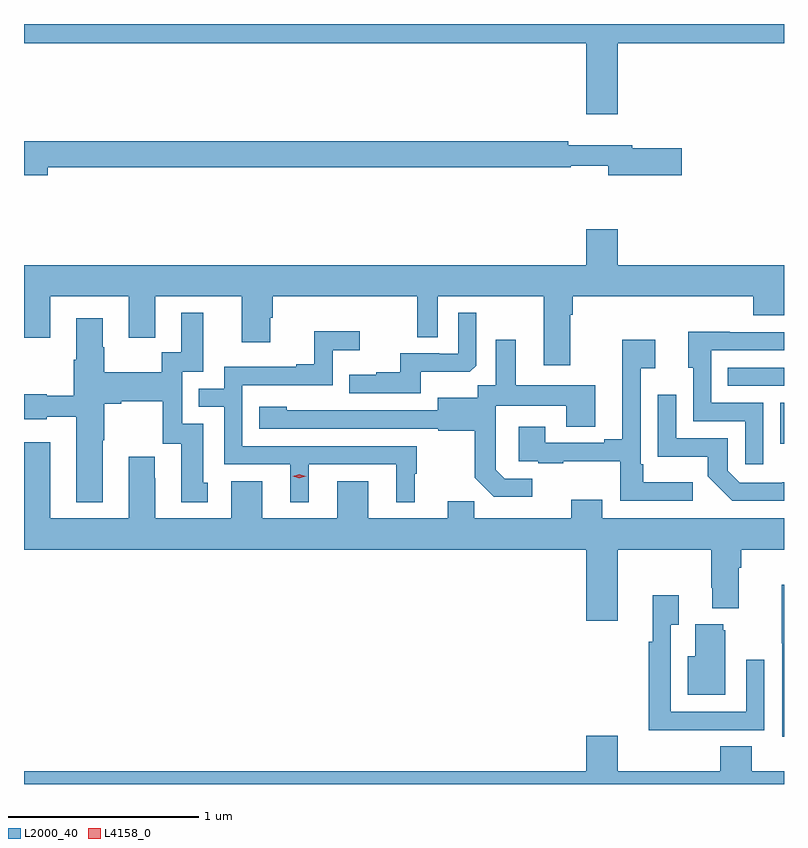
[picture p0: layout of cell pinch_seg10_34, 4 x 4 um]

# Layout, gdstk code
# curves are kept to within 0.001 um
import gdstk
lib = gdstk.Library(unit=1e-6, precision=1e-09)
def R(c, l, rs):  # rectangles x0, y0, x1, y1
    for r in rs: c.add(gdstk.rectangle(r[:2], r[2:], *l))
def P(c, l, *ps):  # polygons
    for p in ps: c.add(gdstk.Polygon(p, *l))
L2000_40 = (2000, 40)
L4158_0 = (4158, 0)

pinch_seg10_34 = lib.new_cell('pinch_seg10_34')
R(pinch_seg10_34, L2000_40, [(921.272,1300.874,921.292,1301.089), (920.995,1301.178,921.292,1301.274)])
P(pinch_seg10_34, L2000_40, [(920.416,1302.98),(921.292,1302.98),(921.292,1303.082),(917.292,1303.082),(917.292,1302.98),(920.252,1302.98),(920.252,1302.606),(920.416,1302.606)],
  [(917.416,1302.328),(920.17,1302.328),(920.17,1302.336),(920.366,1302.336),(920.366,1302.286),(920.755,1302.286),(920.755,1302.428),(920.494,1302.428),(920.494,1302.445),(920.156,1302.445),(920.156,1302.464),(917.292,1302.464),(917.292,1302.286),(917.416,1302.286)],
  [(920.167,1301.552),(920.18,1301.552),(920.18,1301.648),(921.131,1301.648),(921.131,1301.549),(921.292,1301.549),(921.292,1301.812),(920.416,1301.812),(920.416,1302.001),(920.252,1302.001),(920.252,1301.812),(917.292,1301.812),(917.292,1301.43),(917.431,1301.43),(917.431,1301.648),(917.843,1301.648),(917.843,1301.43),(917.983,1301.43),(917.983,1301.648),(918.437,1301.648),(918.437,1301.406),(918.589,1301.406),(918.589,1301.535),(918.602,1301.535),(918.602,1301.648),(919.362,1301.648),(919.362,1301.434),(919.47,1301.434),(919.47,1301.648),(920.027,1301.648),(920.027,1301.286),(920.167,1301.286)],
  [(917.707,1300.891),(917.715,1300.891),(917.715,1301.084),(917.803,1301.084),(917.803,1301.096),(918.023,1301.096),(918.023,1300.872),(918.119,1300.872),(918.119,1300.566),(918.259,1300.566),(918.259,1300.668),(918.235,1300.668),(918.235,1300.977),(918.126,1300.977),(918.126,1301.253),(918.235,1301.253),(918.235,1301.563),(918.119,1301.563),(918.119,1301.354),(918.018,1301.354),(918.018,1301.248),(917.715,1301.248),(917.715,1301.382),(917.707,1301.382),(917.707,1301.533),(917.567,1301.533),(917.567,1301.315),(917.555,1301.315),(917.555,1301.125),(917.412,1301.125),(917.412,1301.133),(917.292,1301.133),(917.292,1301.003),(917.412,1301.003),(917.412,1301.015),(917.567,1301.015),(917.567,1300.565),(917.707,1300.565)],
  [(919.381,1301.252),(919.639,1301.252),(919.671,1301.283),(919.671,1301.563),(919.578,1301.563),(919.578,1301.346),(919.478,1301.346),(919.478,1301.349),(919.271,1301.349),(919.271,1301.248),(919.147,1301.248),(919.147,1301.236),(919.003,1301.236),(919.003,1301.139),(919.381,1301.139)],
  [(918.79,1300.764),(919.25,1300.764),(919.25,1300.565),(919.348,1300.565),(919.348,1300.716),(919.36,1300.716),(919.36,1300.86),(918.441,1300.86),(918.441,1301.181),(918.918,1301.181),(918.918,1301.366),(919.06,1301.366),(919.06,1301.465),(918.82,1301.465),(918.82,1301.29),(918.725,1301.29),(918.725,1301.277),(918.345,1301.277),(918.345,1301.163),(918.211,1301.163),(918.211,1301.067),(918.345,1301.067),(918.345,1300.764),(918.692,1300.764),(918.692,1300.565),(918.79,1300.565)],
  [(921.183,1301.088),(920.91,1301.088),(920.91,1301.364),(921.292,1301.364),(921.292,1301.46),(921.007,1301.46),(921.007,1301.462),(920.789,1301.462),(920.789,1301.274),(920.814,1301.274),(920.814,1300.992),(921.087,1300.992),(921.087,1300.764),(921.183,1300.764)],
  [(920.812,1300.669),(920.551,1300.669),(920.551,1300.765),(920.538,1300.765),(920.538,1301.27),(920.614,1301.27),(920.614,1301.419),(920.441,1301.419),(920.441,1300.897),(920.345,1300.897),(920.345,1300.878),(920.035,1300.878),(920.035,1300.963),(919.895,1300.963),(919.895,1300.782),(919.999,1300.782),(919.999,1300.77),(920.131,1300.77),(920.131,1300.781),(920.43,1300.781),(920.43,1300.572),(920.812,1300.572)],
  [(919.966,1300.689),(919.821,1300.689),(919.774,1300.736),(919.774,1300.831),(919.776,1300.831),(919.776,1301.072),(920.147,1301.072),(920.147,1300.963),(920.299,1300.963),(920.299,1301.182),(919.879,1301.182),(919.879,1301.419),(919.775,1301.419),(919.775,1301.18),(919.68,1301.18),(919.68,1301.116),(919.469,1301.116),(919.469,1301.049),(918.675,1301.05),(918.675,1301.068),(918.531,1301.068),(918.531,1300.953),(919.473,1300.953),(919.473,1300.941),(919.665,1300.941),(919.665,1300.695),(919.765,1300.595),(919.966,1300.595)],
  [(921.292,1300.67),(921.284,1300.67),(921.284,1300.668),(921.06,1300.668),(920.997,1300.731),(920.997,1300.902),(920.724,1300.902),(920.724,1301.131),(920.628,1301.131),(920.628,1300.805),(920.89,1300.805),(920.89,1300.703),(921.02,1300.572),(921.292,1300.572)],
  [(917.843,1300.804),(917.843,1300.48),(917.431,1300.48),(917.431,1300.882),(917.292,1300.882),(917.292,1300.316),(920.252,1300.316),(920.252,1299.942),(920.416,1299.942),(920.416,1300.316),(920.908,1300.316),(920.908,1300.114),(920.915,1300.114),(920.915,1300.007),(921.055,1300.007),(921.055,1300.22),(921.068,1300.22),(921.068,1300.316),(921.292,1300.316),(921.292,1300.48),(920.335,1300.48),(920.335,1300.579),(920.171,1300.579),(920.171,1300.48),(919.661,1300.48),(919.661,1300.571),(919.523,1300.571),(919.523,1300.48),(919.105,1300.48),(919.105,1300.675),(918.941,1300.675),(918.941,1300.48),(918.547,1300.48),(918.547,1300.675),(918.383,1300.675),(918.383,1300.48),(917.983,1300.48),(917.983,1300.691),(917.98,1300.691),(917.98,1300.804)],
  [(921.292,1300.13),(921.28,1300.13),(921.28,1299.823),(921.282,1299.823),(921.282,1299.33),(921.292,1299.33)],
  [(920.873,1299.366),(921.189,1299.366),(921.189,1299.736),(921.093,1299.736),(921.093,1299.462),(920.697,1299.462),(920.697,1299.919),(920.737,1299.919),(920.737,1300.075),(920.6,1300.075),(920.6,1299.83),(920.581,1299.83),(920.581,1299.365),(920.873,1299.365)],
  [(920.983,1299.891),(920.972,1299.891),(920.972,1299.922),(920.825,1299.922),(920.825,1299.754),(920.786,1299.754),(920.786,1299.551),(920.983,1299.551)],
  [(921.292,1299.148),(921.122,1299.148),(921.122,1299.281),(920.957,1299.281),(920.957,1299.148),(920.416,1299.148),(920.416,1299.337),(920.252,1299.337),(920.252,1299.148),(917.292,1299.148),(917.292,1299.082),(921.292,1299.082)])
P(pinch_seg10_34, L4158_0, [(918.741,1300.692),(918.706,1300.701),(918.705,1300.701),(918.706,1300.702),(918.741,1300.712),(918.776,1300.703),(918.777,1300.703),(918.776,1300.703)])

lib.write_gds('pinch_seg10_34.gds')
